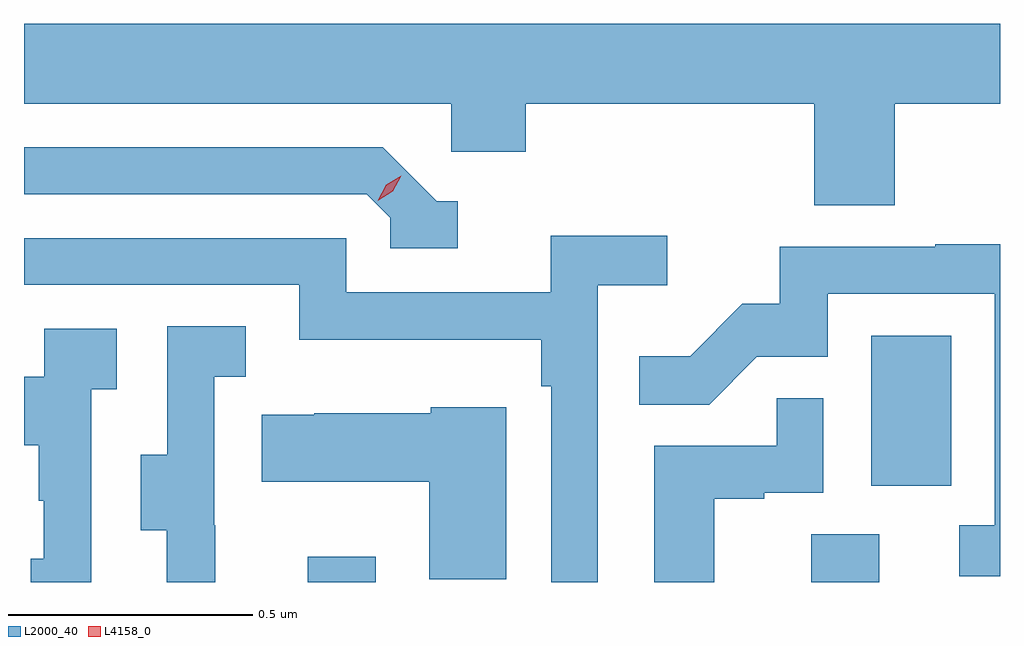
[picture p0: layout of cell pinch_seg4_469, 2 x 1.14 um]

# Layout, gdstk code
import gdstk
lib = gdstk.Library(unit=1e-6, precision=1e-09)
def R(c, l, rs):  # rectangles x0, y0, x1, y1
    for r in rs: c.add(gdstk.rectangle(r[:2], r[2:], *l))
def P(c, l, *ps):  # polygons
    for p in ps: c.add(gdstk.Polygon(p, *l))
L2000_40 = (2000, 40)
L4158_0 = (4158, 0)

pinch_seg4_469 = lib.new_cell('pinch_seg4_469')
R(pinch_seg4_469, L2000_40, [(901.025,761.208,901.165,761.26), (902.057,761.208,902.197,761.306), (902.18,761.406,902.344,761.713)])
P(pinch_seg4_469, L2000_40, [(902.228,762.188),(902.444,762.188),(902.444,762.352),(900.444,762.352),(900.444,762.188),(901.32,762.188),(901.32,762.09),(901.472,762.09),(901.472,762.188),(902.063,762.188),(902.063,761.98),(902.228,761.98)],
  [(901.333,761.988),(901.29,761.988),(901.179,762.099),(900.444,762.099),(900.444,762.003),(901.146,762.003),(901.194,761.955),(901.194,761.892),(901.333,761.892)],
  [(901.62,761.816),(901.762,761.816),(901.762,761.918),(901.523,761.918),(901.523,761.802),(901.104,761.802),(901.104,761.913),(900.444,761.913),(900.444,761.817),(901.008,761.817),(901.008,761.705),(901.504,761.705),(901.504,761.609),(901.524,761.609),(901.524,761.208),(901.62,761.208)],
  [(902.444,761.9),(902.311,761.9),(902.311,761.895),(901.993,761.895),(901.993,761.778),(901.916,761.778),(901.809,761.671),(901.705,761.671),(901.705,761.572),(901.848,761.572),(901.946,761.67),(902.091,761.67),(902.091,761.799),(902.433,761.799),(902.433,761.325),(902.361,761.325),(902.361,761.22),(902.444,761.22)],
  [(900.836,761.325),(900.834,761.325),(900.834,761.629),(900.898,761.629),(900.898,761.732),(900.738,761.732),(900.738,761.469),(900.683,761.469),(900.683,761.314),(900.737,761.314),(900.737,761.208),(900.836,761.208)],
  [(900.582,761.603),(900.634,761.603),(900.634,761.727),(900.486,761.727),(900.486,761.629),(900.444,761.629),(900.444,761.489),(900.474,761.489),(900.474,761.375),(900.484,761.375),(900.484,761.256),(900.458,761.256),(900.458,761.208),(900.582,761.208)],
  [(901.858,761.379),(901.961,761.379),(901.961,761.391),(902.082,761.391),(902.082,761.585),(901.987,761.585),(901.987,761.487),(901.736,761.487),(901.736,761.208),(901.858,761.208)],
  [(901.432,761.566),(901.278,761.566),(901.278,761.554),(901.039,761.554),(901.039,761.551),(900.931,761.551),(900.931,761.414),(901.274,761.414),(901.274,761.214),(901.432,761.214)])
P(pinch_seg4_469, L4158_0, [(901.169,761.99),(901.169,761.99),(901.186,762.022),(901.217,762.041),(901.217,762.041),(901.217,762.041),(901.2,762.009),(901.169,761.99)])

lib.write_gds('pinch_seg4_469.gds')
